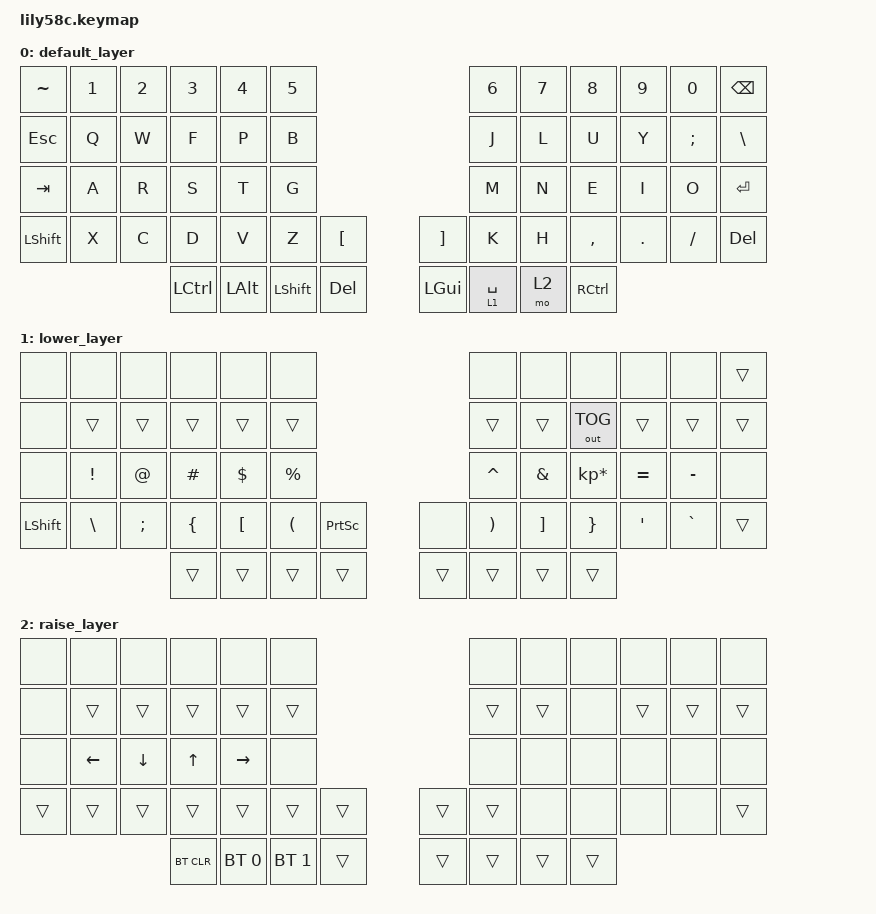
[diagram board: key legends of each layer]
/*
 * Copyright (c) 2020 The ZMK Contributors
 *
 * SPDX-License-Identifier: MIT
 */

#include <behaviors.dtsi>
#include <dt-bindings/zmk/keys.h>
#include <dt-bindings/zmk/bt.h>
#include <dt-bindings/zmk/ext_power.h>
#include <dt-bindings/zmk/outputs.h>

/ {
	behaviors {
		
		bh: layer_taps 
		{
			compatible = "zmk,behavior-hold-tap";
			label = "Layer-Tap";
			#binding-cells = <2>;
			tapping_term_ms = <215>;
            flavor = "tap-preferred";
			bindings = <&mo>, <&kp>;
        };
   	 };
};

/ {
	combos {
		compatible = "zmk,combos";
		combo_esc {
			timeout-ms = <35>;
			key-positions = <29 32>;
			bindings = <&kp ESC>;
		};
	};
};

/ {
	keymap {
		compatible = "zmk,keymap";

		default_layer {
			bindings = <
&kp TILDE   &kp N1 &kp N2 &kp N3   &kp N4   &kp N5                     &kp N6 &kp N7   &kp N8    &kp N9  &kp N0   &kp BSPC
&kp  ESC  &kp Q  &kp W  &kp F    &kp P    &kp B                      &kp J  &kp L    &kp U     &kp Y   &kp SEMI    &kp BSLH
&kp TAB &kp A  &kp R  &kp S   &kp T    &kp G                      &kp M  &kp N    &kp E     &kp I   &kp O &kp ENTER
&kp LSHFT &kp X &kp C  &kp D    &kp V    &kp Z  &kp LBKT   &kp RBKT &kp K  &kp H   &kp COMMA &kp DOT &kp FSLH &kp DEL
                        &kp LCTL &kp LALT &kp LSHFT &kp DEL &kp LGUI  &bh 1 SPACE  &mo 2 &kp RCTL
			>;
		};

		lower_layer {
			bindings = < 
&none    &none         &none     &none      &none    &none                                   &none      &none            &none      &none     &none   &trans  
&none  &trans   &trans  &trans &trans &trans                             &trans    &trans    &out OUT_TOG    &trans    &trans    &trans
&none  &kp EXCL     &kp AT &kp HASH  &kp DOLLAR   &kp PRCNT                       &kp CARET &kp AMPS  &kp KP_MULTIPLY &kp EQUAL  &kp MINUS &none
&kp LSHFT     &kp BSLH &kp SEMI &kp LBRC &kp LBKT &kp LPAR   &kp PSCRN    &none   &kp RPAR &kp RBKT &kp RBRC &kp SQT &kp GRAVE  &trans
           &trans  &trans  &trans   &trans   &trans      &trans    &trans    &trans
			>;
		};

			raise_layer {
			bindings = < 
&none    &none         &none     &none      &none    &none                                   &none      &none            &none      &none     &none   &none  
&none    &trans   &trans  &trans &trans &trans                            &trans    &trans    &none     &trans    &trans    &trans
&none   &kp LEFT     &kp DOWN &kp UP  &kp RIGHT   &none                       &none   &none    &none   &none    &none    &none  
&trans     &trans       &trans &trans &trans &trans    &trans      &trans   &trans    &none   &none      &none    &none   &trans
           &bt BT_CLR  &bt BT_SEL 0  &bt BT_SEL 1   &trans   &trans      &trans    &trans    &trans
			>;
		};
	};
};
